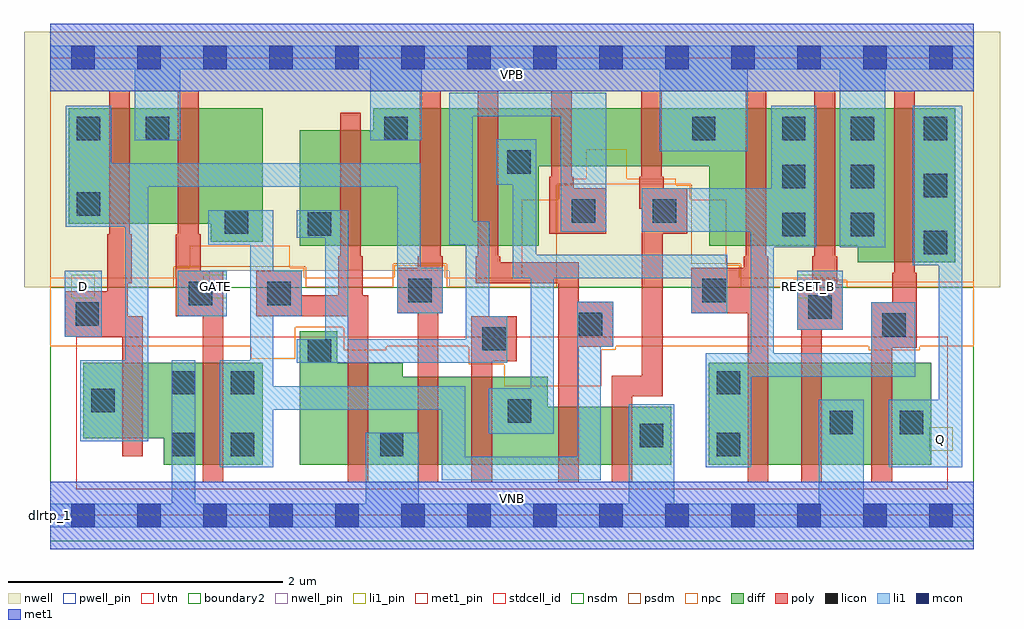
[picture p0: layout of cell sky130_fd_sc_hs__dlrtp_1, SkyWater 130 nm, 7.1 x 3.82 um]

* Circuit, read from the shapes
.subckt sky130_fd_sc_hs__dlrtp_1 D GATE Q RESET_B VGND VNB VPB VPWR
XM1 VGND D n1 VNB sky130_fd_pr__nfet_01v8_lvt w=0.55 l=0.15
XM2 n2 GATE VGND VNB sky130_fd_pr__nfet_01v8_lvt w=0.74 l=0.15
XM3 VGND n2 n3 VNB sky130_fd_pr__nfet_01v8_lvt w=0.74 l=0.15
XM4 n4 n1 VGND VNB sky130_fd_pr__nfet_01v8_lvt w=0.64 l=0.15
XM5 n5 n3 n4 VNB sky130_fd_pr__nfet_01v8_lvt w=0.64 l=0.15
XM6 n6 n2 n5 VNB sky130_fd_pr__nfet_01v8_lvt w=0.42 l=0.15
XM7 VGND n7 n6 VNB sky130_fd_pr__nfet_01v8_lvt w=0.42 l=0.15
XM8 n8 n5 n7 VNB sky130_fd_pr__nfet_01v8_lvt w=0.74 l=0.15
XM9 VGND RESET_B n8 VNB sky130_fd_pr__nfet_01v8_lvt w=0.74 l=0.15
XM10 Q n7 VGND VNB sky130_fd_pr__nfet_01v8_lvt w=0.74 l=0.15
XM11 VPWR D n1 VPB sky130_fd_pr__pfet_01v8 w=0.84 l=0.15
XM12 n2 GATE VPWR VPB sky130_fd_pr__pfet_01v8 w=0.84 l=0.15
XM13 VPWR n2 n3 VPB sky130_fd_pr__pfet_01v8 w=0.84 l=0.15
XM14 n9 n1 VPWR VPB sky130_fd_pr__pfet_01v8 w=1 l=0.15
XM15 n5 n2 n9 VPB sky130_fd_pr__pfet_01v8 w=1 l=0.15
XM16 n10 n3 n5 VPB sky130_fd_pr__pfet_01v8 w=0.42 l=0.15
XM17 VPWR n7 n10 VPB sky130_fd_pr__pfet_01v8 w=0.42 l=0.15
XM18 n7 n5 VPWR VPB sky130_fd_pr__pfet_01v8 w=1 l=0.15
XM19 VPWR RESET_B n7 VPB sky130_fd_pr__pfet_01v8 w=1 l=0.15
XM20 Q n7 VPWR VPB sky130_fd_pr__pfet_01v8 w=1.12 l=0.15
.ends

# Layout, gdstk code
import gdstk
lib = gdstk.Library(unit=1e-6, precision=1e-09)
def R(c, l, rs):  # rectangles x0, y0, x1, y1
    for r in rs: c.add(gdstk.rectangle(r[:2], r[2:], *l))
def A(c, l, x, y, w, h, nx, ny, dx, dy):  # array of equal rectangles
    R(c, l, [(x+i*dx, y+j*dy, x+i*dx+w, y+j*dy+h) for i in range(nx) for j in range(ny)])
def P(c, l, *ps):  # polygons
    for p in ps: c.add(gdstk.Polygon(p, *l))
nwell_pin = (64, 16)
nwell = (64, 20)
diff = (65, 20)
poly = (66, 20)
licon = (66, 44)
li1_pin = (67, 16)
li1 = (67, 20)
mcon = (67, 44)
met1_pin = (68, 16)
met1 = (68, 20)
stdcell_id = (81, 4)
nsdm = (93, 44)
psdm = (94, 20)
npc = (95, 20)
pwell_pin = (122, 16)
lvtn = (125, 44)
boundary2 = (236, 0)

sky130_fd_sc_hs__dlrtp_1 = lib.new_cell('sky130_fd_sc_hs__dlrtp_1')
R(sky130_fd_sc_hs__dlrtp_1, nwell_pin, [(0,3.085,6.72,3.33)])
P(sky130_fd_sc_hs__dlrtp_1, nwell, [(6.91,3.52),(-0.19,3.52),(-0.19,1.66),(1.16,1.66),(1.16,1.78),(2.905,1.78),(2.905,1.66),(6.91,1.66)])
R(sky130_fd_sc_hs__dlrtp_1, diff, [(4.79,0.37,6.41,1.11)])
P(sky130_fd_sc_hs__dlrtp_1, diff, [(1.545,2.96),(0.135,2.96),(0.135,2.12),(1.17,2.12),(1.17,1.99),(1.545,1.99)],
  [(1.545,1.11),(0.24,1.11),(0.24,0.56),(0.825,0.56),(0.825,0.37),(1.545,0.37)],
  [(4.52,0.79),(3.62,0.79),(3.62,1.01),(2.565,1.01),(2.565,1.11),(2.09,1.11),(2.09,1.34),(1.815,1.34),(1.815,0.37),(4.52,0.37)],
  [(6.585,2.96),(2.35,2.96),(2.35,2.8),(1.815,2.8),(1.815,1.96),(3.555,1.96),(3.555,2.54),(4.795,2.54),(4.795,1.96),(5.875,1.96),(5.875,1.84),(6.585,1.84)])
P(sky130_fd_sc_hs__dlrtp_1, poly, [(6.305,1.765),(6.29,1.765),(6.29,3.09),(6.14,3.09),(6.14,1.765),(6.125,1.765),(6.125,1.55),(5.975,1.55),(5.975,0.24),(6.125,0.24),(6.125,1.22),(6.305,1.22)],
  [(5.765,1.68),(5.725,1.68),(5.725,1.885),(5.71,1.885),(5.71,3.09),(5.56,3.09),(5.56,1.885),(5.545,1.885),(5.545,1.68),(5.435,1.68),(5.435,1.35),(5.465,1.35),(5.465,0.24),(5.615,0.24),(5.615,1.35),(5.765,1.35)],
  [(5.225,1.885),(5.21,1.885),(5.21,3.09),(5.06,3.09),(5.06,1.885),(5.045,1.885),(5.045,1.8),(4.665,1.8),(4.665,1.47),(5.075,1.47),(5.075,0.24),(5.225,0.24)],
  [(4.635,2.38),(4.465,2.38),(4.465,2.465),(4.45,2.465),(4.45,3.09),(4.3,3.09),(4.3,2.465),(4.285,2.465),(4.285,2.23),(4.305,2.23),(4.305,1.015),(4.085,1.015),(4.085,0.24),(4.235,0.24),(4.235,0.865),(4.455,0.865),(4.455,2.05),(4.635,2.05)],
  [(4.095,1.555),(3.845,1.555),(3.845,1.84),(3.275,1.84),(3.275,1.885),(3.26,1.885),(3.26,3.09),(3.11,3.09),(3.11,1.885),(3.095,1.885),(3.095,1.69),(3.695,1.69),(3.695,0.24),(3.845,0.24),(3.845,1.225),(4.095,1.225)],
  [(4.045,2.38),(3.81,2.38),(3.81,2.465),(3.795,2.465),(3.795,3.09),(3.645,3.09),(3.645,2.465),(3.63,2.465),(3.63,2.05),(4.045,2.05)],
  [(3.395,1.45),(3.065,1.45),(3.065,0.24),(3.215,0.24),(3.215,1.12),(3.395,1.12)],
  [(2.855,1.885),(2.84,1.885),(2.84,3.09),(2.69,3.09),(2.69,1.885),(2.675,1.885),(2.675,1.8),(2.525,1.8),(2.525,1.47),(2.675,1.47),(2.675,0.24),(2.825,0.24),(2.825,1.47),(2.855,1.47)],
  [(2.315,1.6),(2.275,1.6),(2.275,1.885),(2.26,1.885),(2.26,2.93),(2.11,2.93),(2.11,1.885),(2.095,1.885),(2.095,1.6),(1.83,1.6),(1.83,1.78),(1.5,1.78),(1.5,1.45),(2.165,1.45),(2.165,0.24),(2.315,0.24)],
  [(1.26,1.78),(1.095,1.78),(1.095,2.045),(1.08,2.045),(1.08,3.09),(0.93,3.09),(0.93,2.045),(0.915,2.045),(0.915,1.45),(1.11,1.45),(1.11,0.24),(1.26,0.24)],
  [(0.675,1.45),(0.565,1.45),(0.565,1.69),(0.595,1.69),(0.595,2.045),(0.58,2.045),(0.58,3.09),(0.43,3.09),(0.43,2.045),(0.415,2.045),(0.415,1.63),(0.105,1.63),(0.105,1.3),(0.525,1.3),(0.525,0.43),(0.675,0.43)])
A(sky130_fd_sc_hs__dlrtp_1, licon, 6.355, 1.9, 0.17, 0.17, 1, 3, 0, 0.415)
A(sky130_fd_sc_hs__dlrtp_1, licon, 5.325, 2.03, 0.17, 0.17, 1, 3, 0, 0.35)
A(sky130_fd_sc_hs__dlrtp_1, licon, 5.825, 2.03, 0.17, 0.17, 1, 3, 0, 0.35)
R(sky130_fd_sc_hs__dlrtp_1, licon, [(0.885,0.43,1.055,0.6), (1.315,0.43,1.485,0.6), (2.4,0.43,2.57,0.6), (4.85,0.43,5.02,0.6), (4.29,0.495,4.46,0.665), (5.67,0.59,5.84,0.76), (6.18,0.59,6.35,0.76), (3.33,0.675,3.5,0.845), (0.3,0.75,0.47,0.92), (0.885,0.88,1.055,1.05), (1.315,0.88,1.485,1.05), (4.85,0.88,5.02,1.05), (1.875,1.11,2.045,1.28), (3.145,1.2,3.315,1.37), (6.055,1.3,6.225,1.47), (3.845,1.305,4.015,1.475), (0.185,1.38,0.355,1.55), (5.515,1.43,5.685,1.6), (1.01,1.53,1.18,1.7), (1.58,1.53,1.75,1.7), (2.605,1.55,2.775,1.72), (4.745,1.55,4.915,1.72), (1.875,2.035,2.045,2.205), (1.27,2.05,1.44,2.22), (3.795,2.13,3.965,2.3), (4.385,2.13,4.555,2.3), (0.195,2.18,0.365,2.35), (3.325,2.485,3.495,2.655), (0.195,2.73,0.365,2.9), (0.695,2.73,0.865,2.9), (2.43,2.73,2.6,2.9), (4.67,2.73,4.84,2.9)])
R(sky130_fd_sc_hs__dlrtp_1, li1_pin, [(6.395,0.47,6.565,0.64), (0.155,1.58,0.325,1.75), (1.115,1.58,1.285,1.75), (5.435,1.58,5.605,1.75)])
R(sky130_fd_sc_hs__dlrtp_1, li1, [(0.105,1.3,0.375,1.78), (5.435,1.35,5.765,1.78), (0.93,1.45,1.285,1.78)])
P(sky130_fd_sc_hs__dlrtp_1, li1, [(0,-0.085),(0,0.085),(0.885,0.085),(0.885,1.13),(1.055,1.13),(1.055,0.085),(2.295,0.085),(2.295,0.6),(2.68,0.6),(2.68,0.085),(4.21,0.085),(4.21,0.81),(4.54,0.81),(4.54,0.085),(5.59,0.085),(5.59,0.84),(5.92,0.84),(5.92,0.085),(6.72,0.085),(6.72,-0.085)],
  [(0,3.245),(0,3.415),(6.72,3.415),(6.72,3.245),(6.075,3.245),(6.075,1.95),(5.745,1.95),(5.745,3.245),(5.075,3.245),(5.075,2.65),(4.435,2.65),(4.435,3.245),(2.705,3.245),(2.705,2.73),(2.33,2.73),(2.33,3.245),(0.945,3.245),(0.945,2.73),(0.615,2.73),(0.615,3.245)],
  [(6.1,0.35),(6.1,0.84),(6.465,0.84),(6.465,1.82),(6.275,1.82),(6.275,2.98),(6.635,2.98),(6.635,0.35)],
  [(5.265,1.95),(5.265,1.18),(5.975,1.18),(5.975,1.55),(6.295,1.55),(6.295,1.01),(5.1,1.01),(5.1,0.35),(4.77,0.35),(4.77,1.18),(5.095,1.18),(5.095,2.065),(4.305,2.065),(4.305,2.38),(5.245,2.38),(5.245,2.98),(5.575,2.98),(5.575,1.95)],
  [(0.545,1.13),(0.545,2.1),(0.115,2.1),(0.115,2.98),(0.445,2.98),(0.445,2.56),(2.695,2.56),(2.695,1.8),(2.855,1.8),(2.855,1.47),(2.525,1.47),(2.525,2.39),(0.715,2.39),(0.715,0.54),(0.22,0.54),(0.22,1.13)],
  [(1.235,0.35),(1.235,1.13),(1.455,1.13),(1.455,1.97),(1.15,1.97),(1.15,2.22),(1.625,2.22),(1.625,1.78),(1.83,1.78),(1.83,1.45),(1.625,1.45),(1.625,0.94),(3.02,0.94),(3.02,0.425),(3.835,0.425),(3.835,1.555),(4.095,1.555),(4.095,1.225),(4.005,1.225),(4.005,0.255),(2.85,0.255),(2.85,0.77),(1.625,0.77),(1.625,0.35)],
  [(3.365,1.725),(3.365,2.405),(3.245,2.405),(3.245,2.735),(3.535,2.735),(3.535,1.895),(4.925,1.895),(4.925,1.47),(4.665,1.47),(4.665,1.725),(3.665,1.725),(3.665,0.595),(3.19,0.595),(3.19,0.925),(3.495,0.925),(3.495,1.725)],
  [(1.795,1.11),(1.795,1.28),(2,1.28),(2,2.02),(1.795,2.02),(1.795,2.22),(2.17,2.22),(2.17,1.28),(3.025,1.28),(3.025,1.97),(2.905,1.97),(2.905,3.075),(4.045,3.075),(4.045,2.065),(3.715,2.065),(3.715,2.905),(3.075,2.905),(3.075,2.14),(3.195,2.14),(3.195,1.45),(3.325,1.45),(3.325,1.11)])
A(sky130_fd_sc_hs__dlrtp_1, mcon, 0.155, -0.085, 0.17, 0.17, 14, 2, 0.48, 3.33)
R(sky130_fd_sc_hs__dlrtp_1, met1_pin, [(0,0,6.72,0.245), (0,3.085,6.72,3.33)])
R(sky130_fd_sc_hs__dlrtp_1, met1, [(0,-0.245,6.72,0.245), (0,3.085,6.72,3.575)])
R(sky130_fd_sc_hs__dlrtp_1, stdcell_id, [(0,0,6.72,3.33)])
R(sky130_fd_sc_hs__dlrtp_1, nsdm, [(0,-0.19,6.72,1.66)])
P(sky130_fd_sc_hs__dlrtp_1, psdm, [(6.72,3.52),(0,3.52),(0,1.66),(0.9,1.66),(0.9,1.81),(1.86,1.81),(1.86,1.66),(2.495,1.66),(2.495,1.83),(2.885,1.83),(2.885,1.66),(3.685,1.66),(3.685,2.41),(4.665,2.41),(4.665,1.83),(5.025,1.83),(5.025,1.66),(5.405,1.66),(5.405,1.71),(5.795,1.71),(5.795,1.66),(6.72,1.66)])
P(sky130_fd_sc_hs__dlrtp_1, npc, [(6.72,1.7),(5.735,1.7),(5.735,1.73),(5.015,1.73),(5.015,1.82),(4.92,1.82),(4.92,2.295),(4.655,2.295),(4.655,2.4),(4.55,2.4),(4.55,2.45),(4.195,2.45),(4.195,2.665),(3.9,2.665),(3.9,2.45),(3.8,2.45),(3.8,2.4),(3.695,2.4),(3.695,2.295),(3.43,2.295),(3.43,1.73),(2.875,1.73),(2.875,1.82),(2.505,1.82),(2.505,1.73),(1.85,1.73),(1.85,1.8),(1.745,1.8),(1.745,1.96),(1.015,1.96),(1.015,1.8),(0.91,1.8),(0.91,1.73),(0,1.73),(0,1.23),(1.46,1.23),(1.46,1.14),(1.785,1.14),(1.785,1.37),(2.135,1.37),(2.135,1.2),(2.445,1.2),(2.445,1.23),(3.045,1.23),(3.045,1.1),(3.305,1.1),(3.305,0.94),(4.01,0.94),(4.01,1.205),(4.115,1.205),(4.115,1.23),(5.955,1.23),(5.955,1.2),(6.325,1.2),(6.325,1.23),(6.72,1.23)])
R(sky130_fd_sc_hs__dlrtp_1, pwell_pin, [(0,0,6.72,0.245)])
R(sky130_fd_sc_hs__dlrtp_1, lvtn, [(0.19,0.19,6.53,1.3)])
R(sky130_fd_sc_hs__dlrtp_1, boundary2, [(0,0,6.72,3.33)])
sky130_fd_sc_hs__dlrtp_1.add(gdstk.Label('dlrtp_1', (0,0), layer=83, texttype=44))
sky130_fd_sc_hs__dlrtp_1.add(gdstk.Label('VNB', (3.36,0.123), layer=64, texttype=59))
sky130_fd_sc_hs__dlrtp_1.add(gdstk.Label('VPB', (3.36,3.208), layer=64, texttype=5))
sky130_fd_sc_hs__dlrtp_1.add(gdstk.Label('VPWR', (3.36,3.208), layer=68, texttype=5))
sky130_fd_sc_hs__dlrtp_1.add(gdstk.Label('VGND', (3.36,0.123), layer=68, texttype=5))
sky130_fd_sc_hs__dlrtp_1.add(gdstk.Label('Q', (6.48,0.555), layer=67, texttype=5))
sky130_fd_sc_hs__dlrtp_1.add(gdstk.Label('GATE', (1.2,1.665), layer=67, texttype=5))
sky130_fd_sc_hs__dlrtp_1.add(gdstk.Label('RESET_B', (5.52,1.665), layer=67, texttype=5))
sky130_fd_sc_hs__dlrtp_1.add(gdstk.Label('D', (0.24,1.665), layer=67, texttype=5))

lib.write_gds('sky130_fd_sc_hs__dlrtp_1.gds')
